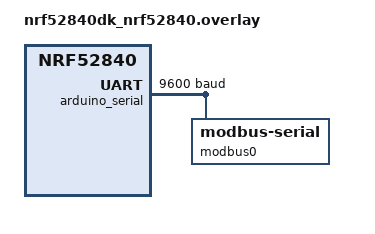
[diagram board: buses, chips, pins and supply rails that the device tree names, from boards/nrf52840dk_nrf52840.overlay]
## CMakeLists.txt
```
#
# Copyright (c) 2020 Nordic Semiconductor ASA
#
# SPDX-License-Identifier: LicenseRef-Nordic-5-Clause
#

cmake_minimum_required(VERSION 3.20.0)

find_package(Zephyr REQUIRED HINTS $ENV{ZEPHYR_BASE})

project(coap_server_v0)

FILE(GLOB app_sources src/*.c)
# NORDIC SDK APP START
target_sources(app PRIVATE ${app_sources})

target_include_directories(app PRIVATE interface)
# NORDIC SDK APP END
```

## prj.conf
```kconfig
#
# Copyright (c) 2020 Nordic Semiconductor
#
# SPDX-License-Identifier: LicenseRef-Nordic-5-Clause
#
CONFIG_LOG=y

# MODBUS RTU
CONFIG_UART_INTERRUPT_DRIVEN=y
CONFIG_UART_LINE_CTRL=y
CONFIG_MODBUS=y
CONFIG_MODBUS_ROLE_CLIENT=y

# # Enable MTD Sleepy End Device
# CONFIG_OPENTHREAD_MTD=y
# CONFIG_OPENTHREAD_MTD_SED=y
# CONFIG_OPENTHREAD_POLL_PERIOD=3000
# CONFIG_RAM_POWER_DOWN_LIBRARY=y
# CONFIG_PM_DEVICE=y
# # CONFIG_PM_DEVICE_RUNTIME=y

# # This variant requires increased system workqueue stack size
# CONFIG_SYSTEM_WORKQUEUE_STACK_SIZE=2048

# nRF board library
CONFIG_DK_LIBRARY=y

# Enable OpenThread CoAP support API
CONFIG_OPENTHREAD_COAP=y

# Enable CoAP utils and CoAP protocol
CONFIG_COAP=y
CONFIG_COAP_UTILS=y

# Network shell
CONFIG_SHELL=y
CONFIG_OPENTHREAD_SHELL=y
CONFIG_SHELL_ARGC_MAX=26
CONFIG_SHELL_CMD_BUFF_SIZE=416

# Network sockets
CONFIG_NET_SOCKETS=y
CONFIG_NET_SOCKETS_POSIX_NAMES=y
CONFIG_NET_SOCKETS_POLL_MAX=4

# Same network Master Key for client and server
CONFIG_OPENTHREAD_NETWORKKEY="00:11:22:33:44:55:66:77:88:99:aa:bb:cc:dd:ee:ff"

# L2 OpenThread enabling
CONFIG_NET_L2_OPENTHREAD=y

# Generic networking options
CONFIG_NETWORKING=y

CONFIG_MBEDTLS_SHA1_C=n
CONFIG_FPU=y
```

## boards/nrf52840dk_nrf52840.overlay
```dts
/* Copyright (c) 2020 Nordic Semiconductor ASA
 *
 * SPDX-License-Identifier: LicenseRef-Nordic-5-Clause
 */

/ {
	/*
	* In some default configurations within the nRF Connect SDK,
	* e.g. on nRF52840, the chosen zephyr,entropy node is &cryptocell.
	* This devicetree overlay ensures that default is overridden wherever it
	* is set, as this application uses the RNG node for entropy exclusively.
	*/
	chosen {
		zephyr,entropy = &rng;
	};
};

&arduino_serial {
    status = "okay";
    current-speed = <9600>;
    modbus0{
        compatible = "zephyr,modbus-serial";
        status = "okay";
    };
};
```

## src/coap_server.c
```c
/*
 * Copyright (c) 2020 Nordic Semiconductor ASA
 *
 * SPDX-License-Identifier: LicenseRef-Nordic-5-Clause
 */

#include <zephyr/kernel.h>
#include <dk_buttons_and_leds.h>
#include <zephyr/logging/log.h>
#include <zephyr/net/openthread.h>
#include <openthread/thread.h>
#include <zephyr/modbus/modbus.h>
#include <zephyr/pm/device.h>

#include "ot_coap_utils.h"

// LOG_MODULE_REGISTER(coap_server, CONFIG_COAP_SERVER_LOG_LEVEL);
LOG_MODULE_REGISTER(coap_server, LOG_LEVEL_INF);

#define MODBUS_NODE 		DT_COMPAT_GET_ANY_STATUS_OKAY(zephyr_modbus_serial)

#define OT_CONNECTION_LED 	DK_LED1
#define MTD_SED_LED 		DK_LED2
#define PROVISIONING_LED 	DK_LED3
#define LIGHT_LED 			DK_LED4

#define COAP_SERVER_WORKQ_STACK_SIZE 512
#define COAP_SERVER_WORKQ_PRIORITY 5

bool is_connected;

K_THREAD_STACK_DEFINE(coap_server_workq_stack_area, COAP_SERVER_WORKQ_STACK_SIZE);
static struct k_work_q coap_server_workq;
static struct k_work provisioning_work;
static struct k_timer led_timer;
static struct k_timer provisioning_timer;

/* modbus */
int client_iface;
struct modbus_iface_param client_param = {
	.mode = MODBUS_MODE_RTU,
	.rx_timeout = 50000,
	.serial = {
		.baud = 9600,
		.parity = UART_CFG_PARITY_NONE,
		.stop_bits_client = UART_CFG_STOP_BITS_1,
	},
};
uint16_t holding_reg[10] = {0};

int init_modbus_client(void)
{
	const char iface_name[] = {DEVICE_DT_NAME(MODBUS_NODE)};
	client_iface = modbus_iface_get_by_name(iface_name);
	return modbus_init_client(client_iface, client_param);
}
uint16_t modbus_uid_SED 	= 0x01;
uint16_t reg_adr_SED[7] 	= {0x06, 0x07, 0x08, 0x09, 0x1E, 0x1F, 0x20};
uint16_t reg_qty_SED 		= 1;

void read_sensor_data(void){
	uint8_t err;
	for (int i=0; i<7; i++){
		LOG_INF("%d",i);
		err = modbus_read_holding_regs(client_iface,modbus_uid_SED,reg_adr_SED[i],holding_reg,reg_qty_SED);
		if (err != 0) {
			LOG_ERR("FC03 failed with %d", err);
			return;
		}
		holding_reg[i+1] = holding_reg[0];
		LOG_INF("%d: %x;\n",reg_adr_SED[i],holding_reg[i+1]);
	}
	holding_reg[0] = modbus_uid_SED;
}

static void on_light_request(uint8_t command)
{
	static uint8_t val;

	switch (command) {
	case THREAD_COAP_UTILS_LIGHT_CMD_ON:
		dk_set_led_on(LIGHT_LED);
		val = 1;
		break;

	case THREAD_COAP_UTILS_LIGHT_CMD_OFF:
		dk_set_led_off(LIGHT_LED);
		val = 0;
		break;

	case THREAD_COAP_UTILS_LIGHT_CMD_TOGGLE:
		val = !val;
		// dk_set_led(LIGHT_LED, val);
		read_sensor_data();
		break;

	default:
		break;
	}
}

static void activate_provisioning(struct k_work *item)
{
	ARG_UNUSED(item);
	LOG_INF("SET srv_context.provisioning_enabled = true");
	ot_coap_activate_provisioning();
	LOG_INF("start LED TIMER and PROVISIONING TIMER");
	k_timer_start(&led_timer, K_MSEC(100), K_MSEC(100));
	k_timer_start(&provisioning_timer, K_SECONDS(5), K_NO_WAIT);

	LOG_INF("Provisioning activated");
}

static void deactivate_provisionig(void)
{
	LOG_INF("STOP LED TIMER and PROVISIONING TIMER");
	k_timer_stop(&led_timer);
	k_timer_stop(&provisioning_timer);

	LOG_INF("if srv_context.provisioning_enabled = true, change it to false");
	if (ot_coap_is_provisioning_active()) {
		ot_coap_deactivate_provisioning();
		LOG_INF("Provisioning deactivated");
	}
}

static void on_provisioning_timer_expiry(struct k_timer *timer_id)
{
	ARG_UNUSED(timer_id);

	deactivate_provisionig();
}

static void on_led_timer_expiry(struct k_timer *timer_id)
{
	static uint8_t val = 1;

	ARG_UNUSED(timer_id);
	dk_set_led(PROVISIONING_LED, val);
	val = !val;
}

static void on_led_timer_stop(struct k_timer *timer_id)
{
	ARG_UNUSED(timer_id);

	dk_set_led_off(PROVISIONING_LED);
}

static void on_mtd_mode_toggle(uint32_t med)
{
#if IS_ENABLED(CONFIG_PM_DEVICE)
	const struct device *cons = DEVICE_DT_GET(DT_CHOSEN(zephyr_console));

	if (!device_is_ready(cons)) {
		return;
	}

	if (med) {
		pm_device_action_run(cons, PM_DEVICE_ACTION_RESUME);
	} else {
		pm_device_action_run(cons, PM_DEVICE_ACTION_SUSPEND);
	}
#endif
	dk_set_led(MTD_SED_LED, med);
}

static void on_button_changed(uint32_t button_state, uint32_t has_changed)
{
	uint32_t buttons = button_state & has_changed;
	LOG_INF("if BUTTON4 state changed, submitted provisioning work to coap server work quene");
	if (buttons & DK_BTN4_MSK) {
		k_work_submit_to_queue(&coap_server_workq, &provisioning_work);
	}
}

static void on_thread_state_changed(otChangedFlags flags, struct openthread_context *ot_context,
				    void *user_data)
{
	if (flags & OT_CHANGED_THREAD_ROLE) {
		LOG_INF("OT Thread Role : %d", otThreadGetDeviceRole(ot_context->instance));
		switch (otThreadGetDeviceRole(ot_context->instance)) {
		case OT_DEVICE_ROLE_CHILD:
		case OT_DEVICE_ROLE_ROUTER:
		case OT_DEVICE_ROLE_LEADER:
			dk_set_led_on(OT_CONNECTION_LED);
			is_connected = true;
			break;

		case OT_DEVICE_ROLE_DISABLED:
		case OT_DEVICE_ROLE_DETACHED:
		default:
			dk_set_led_off(OT_CONNECTION_LED);
			is_connected = false;
			deactivate_provisionig();
			break;
		}
	}
}
static struct openthread_state_changed_cb ot_state_chaged_cb = { .state_changed_cb =
									 on_thread_state_changed };

int main(void)
{
	int ret;

	LOG_INF("Initialize LEDs");
	ret = dk_leds_init();
	if (ret) {
		LOG_ERR("Could not initialize leds, err code: %d", ret);
		goto end;
	}
	
	LOG_INF("Initialize modbus client");
	if (init_modbus_client()) {
		LOG_ERR("Modbus RTU client initialization failed");
		return 0;
	}
	k_msleep(1000);

	LOG_INF("Start CoAP-server sample");
	LOG_INF("led timer: PROVISIONING LED Blinking");
	LOG_INF("provisioning timer: ");
	k_timer_init(&led_timer, on_led_timer_expiry, on_led_timer_stop);
	k_timer_init(&provisioning_timer, on_provisioning_timer_expiry, NULL);
	LOG_INF("Initialize work quene coap server work");
	k_work_queue_init(&coap_server_workq);
	LOG_INF("start work quene coap server work");
	k_work_queue_start(&coap_server_workq, coap_server_workq_stack_area,
					K_THREAD_STACK_SIZEOF(coap_server_workq_stack_area),
					COAP_SERVER_WORKQ_PRIORITY, NULL);
	LOG_INF("Initialize activate provisioning function to procisioning work");
	k_work_init(&provisioning_work, activate_provisioning);

	LOG_INF("Initialize BUTTONs");
	ret = dk_buttons_init(on_button_changed);
	if (ret) {
		LOG_ERR("Cannot init buttons (error: %d)", ret);
		goto end;
	}

	LOG_INF("start ot coap init function");
	ret = ot_coap_init(&deactivate_provisionig, &on_light_request);
	if (ret) {
		LOG_ERR("Could not initialize OpenThread CoAP");
		goto end;
	}
	coap_client_utils_init(on_mtd_mode_toggle);
	LOG_INF("1");
	openthread_state_changed_cb_register(openthread_get_default_context(), &ot_state_chaged_cb);
	LOG_INF("2");
	openthread_start(openthread_get_default_context());
	LOG_INF("3");

end:
	return 0;
}
```

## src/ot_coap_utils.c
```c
#include <zephyr/logging/log.h>
#include <zephyr/net/socket.h>
// #include <zephyr/net/net_pkt.h>
// #include <zephyr/net/net_l2.h>
#include <zephyr/net/openthread.h>
#include <net/coap_utils.h>
#include <openthread/coap.h>
#include <openthread/ip6.h>
#include <openthread/message.h>
#include <openthread/thread.h>
#include <coap_server_client_interface.h>

#include "ot_coap_utils.h"

// LOG_MODULE_REGISTER(ot_coap_utils, CONFIG_OT_COAP_UTILS_LOG_LEVEL);
LOG_MODULE_REGISTER(ot_coap_utils, LOG_LEVEL_ERR);
extern bool is_connected;

#define COAP_CLIENT_WORKQ_STACK_SIZE 2048
#define COAP_CLIENT_WORKQ_PRIORITY 5
K_THREAD_STACK_DEFINE(coap_client_workq_stack_area, COAP_CLIENT_WORKQ_STACK_SIZE);
static struct k_work_q coap_client_workq;

static struct k_work unicast_light_work;
static struct k_work multicast_light_work;
static struct k_work toggle_MTD_SED_work;
static struct k_work provisioning_work;

mtd_mode_toggle_cb_t on_mtd_mode_toggle;

extern uint16_t holding_reg[10];

static struct k_timer sed_timer;

/* Options supported by the server */
static const char *const light_option[] = { LIGHT_URI_PATH, NULL };
static const char *const provisioning_option[] = { PROVISIONING_URI_PATH,
						   NULL };

/* Thread multicast mesh local address */
static struct sockaddr_in6 multicast_local_addr = {
	.sin6_family = AF_INET6,
	.sin6_port = htons(COAP_PORT),
	.sin6_addr.s6_addr = { 0xff, 0x03, 0x00, 0x00, 0x00, 0x00, 0x00, 0x00,
			       0x00, 0x00, 0x00, 0x00, 0x00, 0x00, 0x00, 0x01 },
	.sin6_scope_id = 0U
};

/* Variable for storing server address acquiring in provisioning handshake */
static char unique_local_addr_str[INET6_ADDRSTRLEN];
static struct sockaddr_in6 unique_local_addr = {
	.sin6_family = AF_INET6,
	.sin6_port = htons(COAP_PORT),
	.sin6_addr.s6_addr = {0, },
	.sin6_scope_id = 0U
};

struct server_context {
	struct otInstance *ot;
	bool provisioning_enabled;
	light_request_callback_t on_light_request;
	provisioning_request_callback_t on_provisioning_request;
};

static struct server_context srv_context = {
	.ot = NULL,
	.provisioning_enabled = false,
	.on_light_request = NULL,
	.on_provisioning_request = NULL,
};

/**@brief Definition of CoAP resources for provisioning. */
static otCoapResource provisioning_resource = {
	.mUriPath = PROVISIONING_URI_PATH,
	.mHandler = NULL,
	.mContext = NULL,
	.mNext = NULL,
};

/**@brief Definition of CoAP resources for light. */
static otCoapResource light_resource = {
	.mUriPath = LIGHT_URI_PATH,
	.mHandler = NULL,
	.mContext = NULL,
	.mNext = NULL,
};

static otError provisioning_response_send(otMessage *request_message,
					  const otMessageInfo *message_info)
{
	otError error = OT_ERROR_NO_BUFS;
	otMessage *response;
	const void *payload;
	uint16_t payload_size;

	response = otCoapNewMessage(srv_context.ot, NULL);
	if (response == NULL) {
		goto end;
	}

	otCoapMessageInit(response, OT_COAP_TYPE_NON_CONFIRMABLE,
			  OT_COAP_CODE_CONTENT);

	error = otCoapMessageSetToken(
		response, otCoapMessageGetToken(request_message),
		otCoapMessageGetTokenLength(request_message));
	if (error != OT_ERROR_NONE) {
		goto end;
	}

	error = otCoapMessageSetPayloadMarker(response);
	if (error != OT_ERROR_NONE) {
		goto end;
	}

	payload = otThreadGetMeshLocalEid(srv_context.ot);
	payload_size = sizeof(otIp6Address);

	error = otMessageAppend(response, payload, payload_size);
	if (error != OT_ERROR_NONE) {
		goto end;
	}

	error = otCoapSendResponse(srv_context.ot, response, message_info);

	LOG_HEXDUMP_INF(payload, payload_size, "Sent provisioning response:");

end:
	if (error != OT_ERROR_NONE && response != NULL) {
		otMessageFree(response);
	}

	return error;
}

#define RESPONSE_POLL_PERIOD 10000

static bool is_mtd_in_med_mode(otInstance *instance)
{
	return otThreadGetLinkMode(instance).mRxOnWhenIdle;
}

static uint32_t poll_period;

static void poll_period_restore(void)
{
	otError error;
	otInstance *instance = openthread_get_default_instance();

	if (is_mtd_in_med_mode(instance)) {
		return;
	}

	if (poll_period) {
		error = otLinkSetPollPeriod(instance, poll_period);
		__ASSERT_NO_MSG(error == OT_ERROR_NONE);

		LOG_INF("Poll Period: %dms restored", poll_period);
		poll_period = 0;
	}
}

static int on_provisioning_reply(const struct coap_packet *response,
				 struct coap_reply *reply,
				 const struct sockaddr *from)
{
	int ret = 0;
	const uint8_t *payload;
	uint16_t payload_size = 0u;

	ARG_UNUSED(reply);
	ARG_UNUSED(from);

	payload = coap_packet_get_payload(response, &payload_size);

	if (payload == NULL ||
	    payload_size != sizeof(unique_local_addr.sin6_addr)) {
		LOG_ERR("Received data is invalid");
		ret = -EINVAL;
		goto exit;
	}

	memcpy(&unique_local_addr.sin6_addr, payload, payload_size);

	if (!inet_ntop(AF_INET6, payload, unique_local_addr_str,
		       INET6_ADDRSTRLEN)) {
		LOG_ERR("Received data is not IPv6 address: %d", errno);
		ret = -errno;
		goto exit;
	}

	LOG_INF("Received peer address: %s", unique_local_addr_str);

exit:
	if (IS_ENABLED(CONFIG_OPENTHREAD_MTD_SED)) {
		poll_period_restore();
	}

	return ret;
}

static void poll_period_response_set(void)
{
	otError error;

	otInstance *instance = openthread_get_default_instance();

	if (is_mtd_in_med_mode(instance)) {
		return;
	}

	if (!poll_period) {
		poll_period = otLinkGetPollPeriod(instance);

		error = otLinkSetPollPeriod(instance, RESPONSE_POLL_PERIOD);
		__ASSERT(error == OT_ERROR_NONE, "Failed to set pool period");

		LOG_INF("Poll Period: %dms set", RESPONSE_POLL_PERIOD);
	}
}

static void send_provisioning_request(struct k_work *item)
{
	ARG_UNUSED(item);
	
	if (IS_ENABLED(CONFIG_OPENTHREAD_MTD_SED)) {
		/* decrease the polling period for higher responsiveness */
		poll_period_response_set();
	}

	LOG_INF("Send 'provisioning' request");
	coap_send_request(COAP_METHOD_GET,
			  (const struct sockaddr *)&multicast_local_addr,
			  provisioning_option, NULL, 0u, on_provisioning_reply);
}

static void submit_work_if_connected(struct k_work *work)
{
	if (is_connected) {
		k_work_submit_to_queue(&coap_client_workq, work);
	} else {
		LOG_INF("Connection is broken");
	}
}

static void provisioning_request_handler(void *context, otMessage *message,
					 const otMessageInfo *message_info)
{
	otError error;
	otMessageInfo msg_info;

	ARG_UNUSED(context);

	if (!srv_context.provisioning_enabled) {
		LOG_WRN("Received provisioning request but provisioning "
			"is disabled");
		return;
	}

	LOG_INF("Received provisioning request");

	if ((otCoapMessageGetType(message) == OT_COAP_TYPE_NON_CONFIRMABLE) &&
	    (otCoapMessageGetCode(message) == OT_COAP_CODE_GET)) {
		msg_info = *message_info;
		memset(&msg_info.mSockAddr, 0, sizeof(msg_info.mSockAddr));

		error = provisioning_response_send(message, &msg_info);
		submit_work_if_connected(&provisioning_work);
		if (error == OT_ERROR_NONE) {
			srv_context.on_provisioning_request();
			srv_context.provisioning_enabled = false;
		}
	}
}

void configure_med_mode(void){
	LOG_INF("set med mode");
	otLinkModeConfig config;
	config.mRxOnWhenIdle = true;
	config.mDeviceType = false;
	config.mNetworkData = true;

	otThreadSetLinkMode(srv_context.ot, config);//set med mode
}

void configure_sed_mode(void){
	LOG_INF("set sed mode");
	otLinkModeConfig config;
	config.mRxOnWhenIdle = false;
	config.mDeviceType = false;
	config.mNetworkData = true;

	otThreadSetLinkMode(srv_context.ot, config);//set sed mode
	otLinkSetPollPeriod(srv_context.ot, RESPONSE_POLL_PERIOD);//set sed poll period
}

static bool con_reg;
static void sed_timer_handler(struct k_timer *timer_id){
	// configure_med_mode();
	LOG_INF("Wake up to perform data transmission");
	// srv_context.on_light_request(THREAD_COAP_UTILS_LIGHT_CMD_TOGGLE);
	if(unique_local_addr.sin6_addr.s6_addr16[0] != 0){
		LOG_INF("unicast_light_work submit");
		k_work_submit_to_queue(&coap_client_workq, &unicast_light_work);
	}else{
		LOG_WRN("Peer address not set. Activate 'provisioning' option "
			"on the server side");
		return;	
	}
	// configure_sed_mode();
}



static void light_request_handler(void *context, otMessage *message,
				  const otMessageInfo *message_info)
{
	uint8_t command;

	ARG_UNUSED(context);

	if (otCoapMessageGetType(message) != OT_COAP_TYPE_NON_CONFIRMABLE) {
		LOG_ERR("Light handler - Unexpected type of message");
		goto end;
	}

	if (otCoapMessageGetCode(message) != OT_COAP_CODE_PUT) {
		LOG_ERR("Light handler - Unexpected CoAP code");
		goto end;
	}

	if (otMessageRead(message, otMessageGetOffset(message), &command, 1) !=
	    1) {
		LOG_ERR("Light handler - Missing light command");
		goto end;
	}

	LOG_INF("Received light request: %c", command);

	srv_context.on_light_request(command);

	if(unique_local_addr.sin6_addr.s6_addr16[0] != 0){
		LOG_INF("unicast_light_work submit");
		// con_reg = false;
		// LOG_INF("get EID");
		// submit_work_if_connected(&provisioning_work);
		// con_reg = true;
		k_work_submit_to_queue(&coap_client_workq, &unicast_light_work);
		configure_sed_mode();
		k_timer_start(&sed_timer, K_SECONDS(10), K_SECONDS(10));
	}

end:
	return;
}

static void coap_default_handler(void *context, otMessage *message,
				 const otMessageInfo *message_info)
{
	ARG_UNUSED(context);
	ARG_UNUSED(message);
	ARG_UNUSED(message_info);

	LOG_INF("Received CoAP message that does not match any request "
		"or resource");
}

void ot_coap_activate_provisioning(void)
{
	srv_context.provisioning_enabled = true;
}

void ot_coap_deactivate_provisioning(void)
{
	srv_context.provisioning_enabled = false;
}

bool ot_coap_is_provisioning_active(void)
{
	return srv_context.provisioning_enabled;
}


static void toggle_one_light(struct k_work *item)
{
	if(unique_local_addr.sin6_addr.s6_addr16[0] != 0){
		srv_context.on_light_request(THREAD_COAP_UTILS_LIGHT_CMD_TOGGLE);
	}
	uint8_t payload = (uint8_t)holding_reg[0];
	LOG_INF("holding_reg[0]= %x", (uint8_t)holding_reg[0]);
	char reg_char[50];
	snprintk(reg_char,sizeof(reg_char),"%x,%x,%x,%x,%x,%x,%x,%x",holding_reg[0],holding_reg[1],holding_reg[2],holding_reg[3],holding_reg[4],holding_reg[5],holding_reg[6],holding_reg[7]);
	LOG_INF("reg_char: %s", reg_char);

	ARG_UNUSED(item);
	LOG_INF("unique_local_addr.sin6_addr.s6_addr16[0]= %d", unique_local_addr.sin6_addr.s6_addr16[0]);

	if (unique_local_addr.sin6_addr.s6_addr16[0] == 0) {
		LOG_WRN("Peer address not set. Activate 'provisioning' option "
			"on the server side");
		return;
	}

	LOG_INF("Send 'light' request to: %s", unique_local_addr_str);
	// coap_send_request(COAP_METHOD_PUT,
	// 		  (const struct sockaddr *)&unique_local_addr,
	// 		  light_option, &payload, sizeof(payload), NULL);

	coap_send_request(COAP_METHOD_PUT,
			  (const struct sockaddr *)&unique_local_addr,
			  light_option, &reg_char, sizeof(reg_char), NULL);
}


static void toggle_mesh_lights(struct k_work *item)
{
	static uint8_t command = (uint8_t)THREAD_COAP_UTILS_LIGHT_CMD_OFF;

	ARG_UNUSED(item);
	LOG_INF("mesh light");

	command = ((command == THREAD_COAP_UTILS_LIGHT_CMD_OFF) ?
			   THREAD_COAP_UTILS_LIGHT_CMD_ON :
			   THREAD_COAP_UTILS_LIGHT_CMD_OFF);

	LOG_INF("Send multicast mesh 'light' request");
	coap_send_request(COAP_METHOD_PUT,
			  (const struct sockaddr *)&multicast_local_addr,
			  light_option, &command, sizeof(command), NULL);
}


static void toggle_minimal_sleepy_end_device(struct k_work *item)
{
	otError error;
	otLinkModeConfig mode;
	struct openthread_context *context = openthread_get_default_context();

	__ASSERT_NO_MSG(context != NULL);

	openthread_api_mutex_lock(context);
	mode = otThreadGetLinkMode(context->instance);
	mode.mRxOnWhenIdle = !mode.mRxOnWhenIdle;
	error = otThreadSetLinkMode(context->instance, mode);
	openthread_api_mutex_unlock(context);

	if (error != OT_ERROR_NONE) {
		LOG_ERR("Failed to set MLE link mode configuration");
	} else {
		on_mtd_mode_toggle(mode.mRxOnWhenIdle);
	}
}

static void update_device_state(void)
{
	struct otInstance *instance = openthread_get_default_instance();
	otLinkModeConfig mode = otThreadGetLinkMode(instance);
	on_mtd_mode_toggle(mode.mRxOnWhenIdle);
}

void coap_client_utils_init(mtd_mode_toggle_cb_t on_toggle)
{
	on_mtd_mode_toggle = on_toggle;
	LOG_INF("coap init");
	coap_init(AF_INET6, NULL);
	LOG_INF("coap client work quene init");
	k_work_queue_init(&coap_client_workq);
	k_work_queue_start(&coap_client_workq, coap_client_workq_stack_area,
					K_THREAD_STACK_SIZEOF(coap_client_workq_stack_area),
					COAP_CLIENT_WORKQ_PRIORITY, NULL);
	LOG_INF("add different work in coap client quene ");

	k_work_init(&unicast_light_work, toggle_one_light);
	k_work_init(&multicast_light_work, toggle_mesh_lights);
	k_work_init(&provisioning_work, send_provisioning_request);

	if (IS_ENABLED(CONFIG_OPENTHREAD_MTD_SED)) {
		k_work_init(&toggle_MTD_SED_work,
			    toggle_minimal_sleepy_end_device);
		update_device_state();
	}
	LOG_INF("end coap client utils init");
}

int ot_coap_init(provisioning_request_callback_t on_provisioning_request,
		 light_request_callback_t on_light_request)
{
	otError error;
	LOG_INF("SET server relevent parameters");
	srv_context.provisioning_enabled = false;
	srv_context.on_provisioning_request = on_provisioning_request;
	srv_context.on_light_request = on_light_request;

	srv_context.ot = openthread_get_default_instance();
	if (!srv_context.ot) {
		LOG_ERR("There is no valid OpenThread instance");
		error = OT_ERROR_FAILED;
		goto end;
	}
	// otIp6SetEnabled(srv_context.ot, true);
	// otThreadSetEnabled(srv_context.ot, true);
	// configure_sed_mode();

	LOG_INF("Initialize sed timer");
	k_timer_init(&sed_timer, sed_timer_handler, NULL);
	// configure_sed_mode();
	// k_timer_start(&sed_timer, K_SECONDS(10), K_SECONDS(10));

	LOG_INF("Intialize provisioning request handler");
	provisioning_resource.mContext = srv_context.ot;
	provisioning_resource.mHandler = provisioning_request_handler;

	LOG_INF("Initialize light request handler");
	light_resource.mContext = srv_context.ot;
	light_resource.mHandler = light_request_handler;

	LOG_INF("set default handler and add light resource and provisioning resource");
	otCoapSetDefaultHandler(srv_context.ot, coap_default_handler, NULL);
	otCoapAddResource(srv_context.ot, &light_resource);
	otCoapAddResource(srv_context.ot, &provisioning_resource);

	LOG_INF("start coap");
	error = otCoapStart(srv_context.ot, COAP_PORT);
	if (error != OT_ERROR_NONE) {
		LOG_ERR("Failed to start OT CoAP. Error: %d", error);
		goto end;
	}

end:
	return error == OT_ERROR_NONE ? 0 : 1;
}
```

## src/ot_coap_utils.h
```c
/*
 * Copyright (c) 2020 Nordic Semiconductor ASA
 *
 * SPDX-License-Identifier: LicenseRef-Nordic-5-Clause
 */

#ifndef __OT_COAP_UTILS_H__
#define __OT_COAP_UTILS_H__

#include <coap_server_client_interface.h>

/** @brief Type indicates function called when OpenThread connection
 *         is established.
 *
 * @param[in] item pointer to work item.
 */
// typedef void (*ot_connection_cb_t)(struct k_work *item);

/** @brief Type indicates function called when OpenThread connection is ended.
 *
 * @param[in] item pointer to work item.
 */
// typedef void (*ot_disconnection_cb_t)(struct k_work *item);

/** @brief Type indicates function called when the MTD modes are toggled.
 *
 * @param[in] val 1 if the MTD is in MED mode
 *                0 if the MTD is in SED mode
 */
typedef void (*mtd_mode_toggle_cb_t)(uint32_t val);

/** @brief Initialize CoAP client utilities.
 */
void coap_client_utils_init(mtd_mode_toggle_cb_t on_toggle);
// void coap_client_utils_init(ot_connection_cb_t on_connect,
// 			    ot_disconnection_cb_t on_disconnect,
// 			    mtd_mode_toggle_cb_t on_toggle);
/** @brief Toggle light on the CoAP server node.
 *
 * @note The CoAP server should be paired before to have an affect.
 */
void coap_client_toggle_one_light(void);

/** @brief Toggle lights on all CoAP servers in the network mesh.
 */
void coap_client_toggle_mesh_lights(void);

/** @brief Request for the CoAP server address to pair.
 *
 * @note Enable paring on the CoAP server to get the address.
 */
void coap_client_send_provisioning_request(void);

/** @brief Toggle SED to MED and MED to SED modes.
 *
 * @note Active when the device is working as Minimal Thread Device.
 */
void coap_client_toggle_minimal_sleepy_end_device(void);


/**@brief Type definition of the function used to handle light resource change.
 */
typedef void (*light_request_callback_t)(uint8_t cmd);
typedef void (*provisioning_request_callback_t)();

int ot_coap_init(provisioning_request_callback_t on_provisioning_request,
		 light_request_callback_t on_light_request);

void ot_coap_activate_provisioning(void);

void ot_coap_deactivate_provisioning(void);

bool ot_coap_is_provisioning_active(void);
#endif
```
